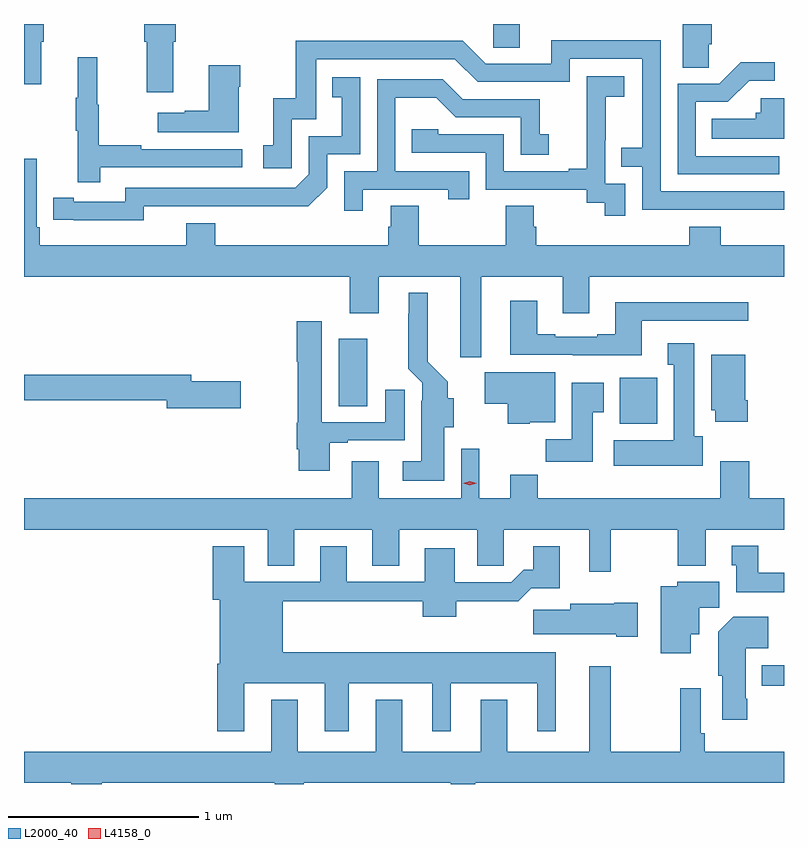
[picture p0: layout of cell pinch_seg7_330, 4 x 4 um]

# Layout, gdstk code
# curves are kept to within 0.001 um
import gdstk
lib = gdstk.Library(unit=1e-6, precision=1e-09)
def R(c, l, rs):  # rectangles x0, y0, x1, y1
    for r in rs: c.add(gdstk.rectangle(r[:2], r[2:], *l))
def P(c, l, *ps):  # polygons
    for p in ps: c.add(gdstk.Polygon(p, *l))
L2000_40 = (2000, 40)
L4158_0 = (4158, 0)

pinch_seg7_330 = lib.new_cell('pinch_seg7_330')
R(pinch_seg7_330, L2000_40, [(461.517,1050.411,461.633,1050.519), (460.769,1051.79,460.966,1052.032), (459.29,1051.882,459.439,1052.236), (460.104,1053.769,460.243,1053.893)])
P(pinch_seg7_330, L2000_40, [(461.238,1053.787),(461.252,1053.787),(461.252,1053.893),(461.099,1053.893),(461.099,1053.664),(461.238,1053.664)],
  [(457.723,1053.8),(457.736,1053.8),(457.736,1053.893),(457.633,1053.893),(457.633,1053.576),(457.723,1053.576)],
  [(458.419,1053.8),(458.432,1053.8),(458.432,1053.893),(458.267,1053.893),(458.267,1053.8),(458.279,1053.8),(458.279,1053.534),(458.419,1053.534)],
  [(461.633,1053.012),(460.983,1053.012),(460.983,1053.807),(460.409,1053.807),(460.409,1053.684),(460.062,1053.684),(459.942,1053.804),(459.063,1053.804),(459.063,1053.502),(458.945,1053.502),(458.945,1053.255),(458.892,1053.255),(458.892,1053.135),(459.042,1053.135),(459.042,1053.393),(459.171,1053.393),(459.171,1053.708),(459.9,1053.708),(460.02,1053.588),(460.506,1053.588),(460.506,1053.711),(460.887,1053.711),(460.887,1053.242),(460.777,1053.242),(460.777,1053.141),(460.887,1053.141),(460.887,1052.916),(461.633,1052.915)],
  [(458.033,1053.138),(458.782,1053.138),(458.782,1053.234),(458.249,1053.234),(458.249,1053.254),(458.026,1053.254),(458.026,1053.468),(458.018,1053.468),(458.018,1053.718),(457.916,1053.718),(457.916,1053.505),(457.905,1053.505),(457.905,1053.331),(457.916,1053.331),(457.916,1053.06),(458.033,1053.06)],
  [(461.608,1053.198),(461.169,1053.198),(461.169,1053.483),(461.338,1053.483),(461.449,1053.594),(461.584,1053.594),(461.584,1053.692),(461.405,1053.692),(461.292,1053.579),(461.073,1053.579),(461.073,1053.102),(461.608,1053.102)],
  [(458.764,1053.563),(458.772,1053.563),(458.772,1053.676),(458.606,1053.676),(458.606,1053.437),(458.48,1053.437),(458.48,1053.427),(458.337,1053.427),(458.337,1053.323),(458.764,1053.323)],
  [(460.797,1053.051),(460.692,1053.051),(460.692,1053.281),(460.694,1053.281),(460.694,1053.509),(460.792,1053.509),(460.792,1053.619),(460.594,1053.619),(460.594,1053.413),(460.595,1053.413),(460.595,1053.13),(460.499,1053.13),(460.499,1053.117),(460.158,1053.117),(460.158,1053.312),(459.813,1053.312),(459.813,1053.339),(459.673,1053.339),(459.673,1053.216),(460.062,1053.216),(460.062,1053.021),(460.596,1053.021),(460.596,1052.953),(460.689,1052.953),(460.689,1052.883),(460.797,1052.883)],
  [(458.262,1052.934),(459.13,1052.933),(459.228,1053.03),(459.228,1053.207),(459.402,1053.207),(459.402,1053.613),(459.256,1053.613),(459.256,1053.507),(459.305,1053.507),(459.305,1053.303),(459.132,1053.303),(459.132,1053.102),(459.06,1053.03),(458.166,1053.03),(458.166,1052.958),(457.894,1052.958),(457.894,1052.978),(457.786,1052.978),(457.786,1052.862),(458.262,1052.861)],
  [(459.415,1053.021),(459.866,1053.021),(459.866,1052.97),(459.977,1052.97),(459.977,1053.117),(459.588,1053.117),(459.588,1053.506),(459.802,1053.506),(459.906,1053.402),(460.248,1053.402),(460.248,1053.204),(460.396,1053.204),(460.396,1053.313),(460.347,1053.313),(460.347,1053.498),(459.943,1053.498),(459.838,1053.603),(459.492,1053.603),(459.492,1053.117),(459.318,1053.117),(459.318,1052.91),(459.415,1052.91)],
  [(461.633,1053.502),(461.511,1053.502),(461.511,1053.426),(461.485,1053.426),(461.485,1053.394),(461.254,1053.394),(461.254,1053.29),(461.633,1053.29)],
  [(460.039,1052.564),(460.469,1052.564),(460.469,1052.37),(460.609,1052.37),(460.609,1052.564),(461.633,1052.564),(461.633,1052.728),(461.3,1052.728),(461.3,1052.827),(461.135,1052.827),(461.135,1052.728),(460.328,1052.728),(460.328,1052.826),(460.315,1052.826),(460.315,1052.936),(460.168,1052.936),(460.168,1052.728),(459.711,1052.728),(459.711,1052.936),(459.563,1052.936),(459.563,1052.826),(459.551,1052.826),(459.551,1052.728),(458.639,1052.728),(458.639,1052.845),(458.486,1052.845),(458.486,1052.728),(457.715,1052.728),(457.715,1052.824),(457.701,1052.824),(457.701,1053.184),(457.633,1053.184),(457.633,1052.564),(459.347,1052.564),(459.347,1052.37),(459.499,1052.37),(459.499,1052.564),(459.929,1052.564),(459.929,1052.139),(460.039,1052.139)],
  [(459.844,1051.77),(459.895,1051.77),(459.895,1051.922),(459.862,1051.922),(459.862,1052.01),(459.757,1052.116),(459.757,1052.479),(459.659,1052.479),(459.659,1052.369),(459.655,1052.369),(459.655,1052.078),(459.729,1052.004),(459.729,1051.91),(459.725,1051.91),(459.725,1051.591),(459.627,1051.591),(459.627,1051.49),(459.844,1051.49)],
  [(460.885,1052.331),(461.446,1052.331),(461.446,1052.428),(460.745,1052.428),(460.745,1052.26),(460.649,1052.26),(460.649,1052.247),(460.429,1052.247),(460.429,1052.26),(460.333,1052.26),(460.333,1052.437),(460.193,1052.437),(460.193,1052.151),(460.521,1052.151),(460.521,1052.15),(460.885,1052.15)],
  [(459.241,1051.689),(459.337,1051.689),(459.337,1051.701),(459.637,1051.701),(459.637,1051.969),(459.533,1051.969),(459.533,1051.797),(459.199,1051.797),(459.199,1052.329),(459.068,1052.329),(459.068,1052.116),(459.073,1052.116),(459.073,1051.794),(459.068,1051.794),(459.068,1051.654),(459.08,1051.654),(459.08,1051.542),(459.241,1051.542)],
  [(461.206,1051.722),(461.161,1051.722),(461.161,1052.212),(461.021,1052.212),(461.021,1052.099),(461.054,1052.099),(461.054,1051.702),(460.737,1051.702),(460.737,1051.568),(461.206,1051.568)],
  [(461.441,1051.912),(461.428,1051.912),(461.428,1052.152),(461.249,1052.152),(461.249,1051.86),(461.27,1051.86),(461.27,1051.8),(461.441,1051.8)],
  [(460.296,1051.796),(460.429,1051.796),(460.429,1052.059),(460.059,1052.059),(460.059,1051.894),(460.178,1051.894),(460.178,1051.79),(460.296,1051.79)],
  [(458.773,1052.012),(458.512,1052.012),(458.512,1052.048),(457.633,1052.048),(457.633,1051.912),(458.384,1051.912),(458.384,1051.87),(458.773,1051.87)],
  [(460.627,1051.849),(460.684,1051.849),(460.684,1052.005),(460.517,1052.005),(460.517,1051.708),(460.378,1051.708),(460.378,1051.59),(460.627,1051.59)],
  [(460.721,1051.232),(461.074,1051.232),(461.074,1051.043),(461.221,1051.043),(461.221,1051.232),(461.633,1051.232),(461.633,1051.396),(461.45,1051.396),(461.45,1051.591),(461.297,1051.591),(461.297,1051.396),(460.337,1051.396),(460.337,1051.52),(460.193,1051.52),(460.193,1051.396),(460.03,1051.396),(460.03,1051.657),(459.933,1051.657),(459.933,1051.396),(459.499,1051.396),(459.499,1051.591),(459.359,1051.591),(459.359,1051.396),(457.633,1051.396),(457.633,1051.232),(458.915,1051.232),(458.915,1051.042),(459.055,1051.042),(459.055,1051.232),(459.467,1051.232),(459.467,1051.042),(459.607,1051.042),(459.607,1051.232),(460.019,1051.232),(460.019,1051.042),(460.158,1051.042),(460.158,1051.232),(460.607,1051.232),(460.607,1051.011),(460.721,1051.011)],
  [(461.633,1051.006),(461.497,1051.006),(461.497,1051.147),(461.357,1051.147),(461.357,1051.044),(461.381,1051.044),(461.381,1050.902),(461.633,1050.902)],
  [(458.791,1050.422),(459.215,1050.422),(459.215,1050.171),(459.343,1050.171),(459.343,1050.422),(459.782,1050.422),(459.782,1050.171),(459.88,1050.171),(459.88,1050.422),(460.334,1050.422),(460.334,1050.171),(460.432,1050.171),(460.432,1050.586),(458.995,1050.586),(458.995,1050.856),(459.731,1050.856),(459.731,1050.773),(459.909,1050.773),(459.909,1050.854),(460.235,1050.854),(460.304,1050.923),(460.453,1050.923),(460.453,1051.144),(460.313,1051.144),(460.313,1051.021),(460.264,1051.021),(460.197,1050.954),(459.901,1050.954),(459.901,1051.135),(459.743,1051.135),(459.743,1050.957),(459.331,1050.957),(459.331,1051.144),(459.191,1051.144),(459.191,1050.957),(458.791,1050.957),(458.791,1051.144),(458.627,1051.144),(458.627,1050.864),(458.663,1050.864),(458.663,1050.526),(458.651,1050.526),(458.651,1050.171),(458.791,1050.171)],
  [(461.143,1050.68),(461.188,1050.68),(461.188,1050.82),(461.293,1050.82),(461.293,1050.958),(461.07,1050.958),(461.07,1050.934),(460.985,1050.934),(460.985,1050.582),(461.143,1050.582)],
  [(460.864,1050.846),(460.74,1050.846),(460.74,1050.841),(460.508,1050.841),(460.508,1050.809),(460.314,1050.809),(460.314,1050.68),(460.751,1050.68),(460.751,1050.668),(460.864,1050.668)],
  [(461.439,1050.343),(461.431,1050.343),(461.431,1050.608),(461.549,1050.608),(461.549,1050.772),(461.366,1050.772),(461.288,1050.694),(461.288,1050.462),(461.309,1050.462),(461.309,1050.231),(461.439,1050.231)],
  [(459.625,1050.337),(459.485,1050.337),(459.485,1050.064),(459.073,1050.064),(459.073,1050.337),(458.933,1050.337),(458.933,1050.064),(457.633,1050.064),(457.633,1049.9),(457.882,1049.9),(457.882,1049.893),(458.042,1049.893),(458.042,1049.9),(458.954,1049.9),(458.954,1049.893),(459.106,1049.893),(459.106,1049.9),(459.878,1049.9),(459.878,1049.893),(460.007,1049.893),(460.007,1049.9),(461.633,1049.9),(461.633,1050.064),(461.216,1050.064),(461.216,1050.16),(461.196,1050.16),(461.196,1050.397),(461.088,1050.397),(461.088,1050.064),(460.721,1050.064),(460.721,1050.514),(460.607,1050.514),(460.607,1050.064),(460.177,1050.064),(460.177,1050.337),(460.037,1050.337),(460.037,1050.064),(459.625,1050.064)])
P(pinch_seg7_330, L4158_0, [(459.98,1051.466),(459.945,1051.476),(459.944,1051.476),(459.945,1051.476),(459.98,1051.486),(460.016,1051.476),(460.016,1051.476),(460.016,1051.476)])

lib.write_gds('pinch_seg7_330.gds')
